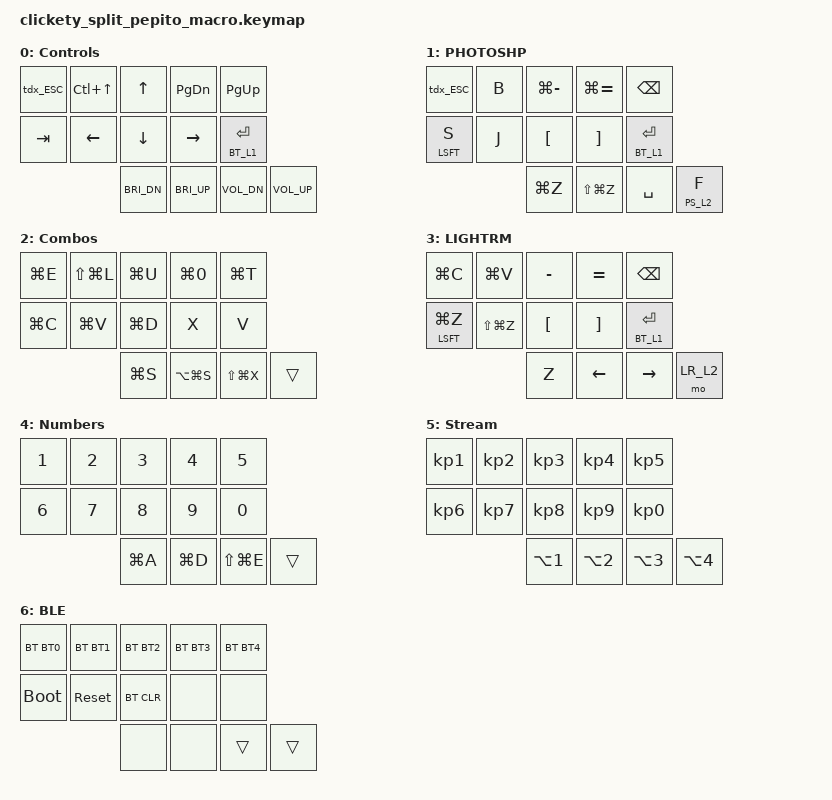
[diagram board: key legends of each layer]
/*
 * Copyright (c) 2023 The ZMK Contributors
 * SPDX-License-Identifier: MIT
 */

#include <behaviors.dtsi>
#include <dt-bindings/zmk/bt.h>
#include <dt-bindings/zmk/keys.h>


// Short versions
#define CP_L1       0

#define PS_L1       1
#define PS_L2       2

#define LR_L1       3
#define LR_L2       4

#define SL_L1       5
#define BT_L1       6


#define BT0         BT_SEL 0
#define BT1         BT_SEL 1
#define BT2         BT_SEL 2
#define BT3         BT_SEL 3
#define BT4         BT_SEL 4

#define BOOTLDR     &bootloader

#define VOLUP   C_VOL_UP
#define VOLDN   C_VOL_DN
#define VOLMT   C_MUTE
#define BRIUP   C_BRI_UP
#define BRIDN   C_BRI_DN


/ {
    combos {
        compatible = "zmk,combos";

// Apps
        combo_controls_lightroom {
            timeout-ms = <50>;
            key-positions = <12 13>;
            layers = <CP_L1>;
            bindings = <&tog LR_L1>;
        };

        combo_controls_lightroom_bk {
            timeout-ms = <50>;
            key-positions = <12 13>;
            layers = <LR_L1>;
            bindings = <&tog LR_L1>;
        };

        combo_controls_photoshop {
            timeout-ms = <50>;
            key-positions = <11 13>;
            layers = <CP_L1>;
            bindings = <&tog PS_L1>;
        };

        combo_controls_photoshop_bk {
            timeout-ms = <50>;
            key-positions = <11 13>;
            layers = <PS_L1>;
            bindings = <&tog PS_L1>;
        };

        combo_controls_streamlabs {
            timeout-ms = <50>;
            key-positions = <10 13>;
            layers = <CP_L1>;
            bindings = <&tog SL_L1>;
        };

        combo_controls_streamlabs_bk {
            timeout-ms = <50>;
            key-positions = <10 11>;
            layers = <SL_L1>;
            bindings = <&tog SL_L1>;
        };


// Lightroom
        combo_tab_crop {
            timeout-ms = <50>;
            key-positions = <0 5>;
            layers = <LR_L1>;
            bindings = <&kp R>;
        };

        combo_tab_healing {
            timeout-ms = <50>;
            key-positions = <1 6>;
            layers = <LR_L1>;
            bindings = <&kp Q>;
        };

        combo_tab_masking {
            timeout-ms = <50>;
            key-positions = <2 7>;
            layers = <LR_L1>;
            bindings = <&kp LS(W)>;
        };

// Photoshop
        combo_delete {
            timeout-ms = <50>;
            key-positions = <3 4>;
            layers = <PS_L1>;
            bindings = <&kp DEL>;
        };

    };

    behaviors {

        tdx_ESC: tap_dance_1 {
            compatible = "zmk,behavior-tap-dance";
            label = "OSX_QUIT";
            #binding-cells = <0>;
            tapping-term-ms = <200>;
            bindings = <&kp ESC>, <&kp LG(W)>;
        };

    };

    keymap {
        compatible = "zmk,keymap";

        controls_layer {
            label = " Controls";
            bindings = <
&tdx_ESC    &kp LC(UP)    &kp UP         &kp PG_DN      &kp PG_UP
&kp TAB     &kp LEFT      &kp DOWN       &kp RIGHT      &lt BT_L1 RET
                          &kp BRIDN      &kp BRIUP      &kp VOLDN      &kp VOLUP
            >;

//            sensor-bindings = <&inc_dec_kp C_VOL_DN C_VOL_UP>;
        };

        photoshop_layer {
            label = " PHOTOSHP";
            bindings = <
&tdx_ESC    &kp B         &kp LG(MINUS)  &kp LG(EQUAL)  &kp BSPC
&mt LSFT S  &kp J         &kp LBKT       &kp RBKT       &lt BT_L1 RET
                          &kp LG(Z)      &kp LS(LG(Z))  &kp SPACE      &lt PS_L2 F
            >;

//            sensor-bindings = <&inc_dec_kp C_VOL_DN C_VOL_UP>;
        };

        photoshop_combos_layer {
            label = " Combos";
            bindings = <
&kp LG(E)   &kp LS(LG(L)) &kp LG(U)      &kp LG(N0)     &kp LG(T)
&kp LG(C)   &kp LG(V)     &kp LG(D)      &kp X          &kp V
                          &kp LG(S)      &kp LA(LG(S))  &kp LS(LG(X))  &trans
            >;

//            sensor-bindings = <&inc_dec_kp C_VOL_DN C_VOL_UP>;
        };

        lightroom_layer {
            label = " LIGHTRM";
            bindings = <
&kp LG(C)       &kp LG(V)     &kp MINUS      &kp EQUAL      &kp BSPC
&mt LSFT LG(Z)  &kp LS(LG(Z)) &kp LBKT       &kp RBKT       &lt BT_L1 RET
                              &kp Z          &kp LEFT       &kp RIGHT      &mo LR_L2
            >;

//            sensor-bindings = <&inc_dec_kp C_VOL_DN C_VOL_UP>;
        };

        lightroom_numbers_layer {
            label = " Numbers";
            bindings = <
&kp N1      &kp N2        &kp N3         &kp N4         &kp N5
&kp N6      &kp N7        &kp N8         &kp N9         &kp N0
                          &kp LG(A)      &kp LG(D)      &kp LS(LG(E))  &trans
            >;

//            sensor-bindings = <&inc_dec_kp C_VOL_DN C_VOL_UP>;
        };

        streamlabs_layer {
            label = " Stream";
            bindings = <
&kp KP_N1   &kp KP_N2     &kp KP_N3      &kp KP_N4      &kp KP_N5
&kp KP_N6   &kp KP_N7     &kp KP_N8      &kp KP_N9      &kp KP_N0
                          &kp LA(N1)     &kp LA(N2)     &kp LA(N3)     &kp LA(N4)
            >;

//            sensor-bindings = <&inc_dec_kp C_VOL_DN C_VOL_UP>;
        };

        ble_layer {
            label = " BLE";
            bindings = <
&bt BT0     &bt BT1       &bt BT2        &bt BT3        &bt BT4
BOOTLDR     &sys_reset    &bt BT_CLR     &none          &none
                          &none          &none          &trans         &trans
            >;

//            sensor-bindings = <&inc_dec_kp C_VOL_DN C_VOL_UP>;
        };
    };
};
